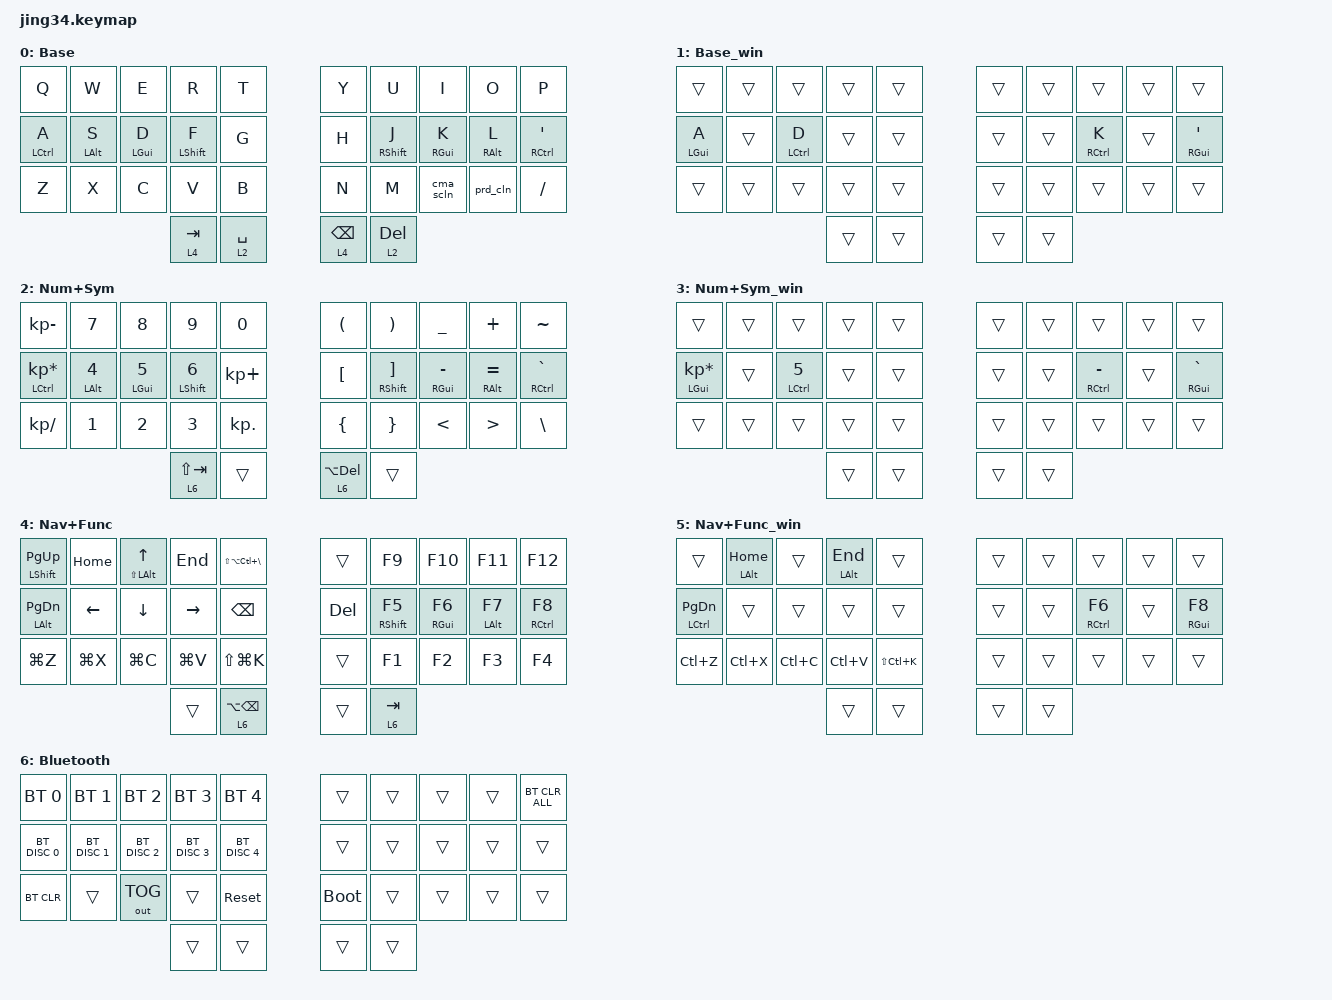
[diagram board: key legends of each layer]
#include <behaviors.dtsi>
#include <dt-bindings/zmk/bt.h>
#include <dt-bindings/zmk/keys.h>
#include <dt-bindings/zmk/outputs.h>

&mt {
    quick-tap-ms = <150>;
    tapping-term-ms = <150>;
    require-prior-idle-ms = <150>;
    flavor = "balanced";
};

&lt {
};

/ {
    combos {
        compatible = "zmk,combos";

        left_enter {
            bindings = <&kp ENTER>;
            key-positions = <1 12 23>;
        };

        right_enter {
            bindings = <&kp ENTER>;
            key-positions = <8 17 26>;
        };

        esc {
            bindings = <&kp ESCAPE>;
            key-positions = <0 1>;
        };

        tab {
            bindings = <&kp TAB>;
            key-positions = <3 14>;
        };

        shift_tab {
            bindings = <&kp LS(TAB)>;
            key-positions = <2 13>;
        };

        hold_space {
            bindings = <&kp SPACE>;
            key-positions = <23 31>;
        };

        caps_word {
            bindings = <&caps_word>;
            key-positions = <13 16>;
        };

        toggle_nav {
            bindings = <&tog 2>;
            key-positions = <11 2 13>;
            layers = <0 2>;
            require-prior-idle-ms = <350>;
        };

        jsdoc {
            bindings = <&jsdoc>;
            key-positions = <29 28>;
        };

        caps_lock {
            bindings = <&kp CAPSLOCK>;
            key-positions = <13 12 16 17>;
        };

        screen_shot {
            bindings = <&kp LS(LG(N5))>;
            key-positions = <0 11>;
        };

        soft_off {
            bindings = <&soft_off>;
            key-positions = <0 32 9 31>;
        };

        bootloader {
            bindings = <&bootloader>;
            key-positions = <4 14 5 15>;
        };

        bt_clear_all {
            bindings = <&bt BT_CLR_ALL>;
            key-positions = <20 21 29 28 22 27>;
        };

        reset {
            bindings = <&sys_reset>;
            key-positions = <30 31 32 33 34 35>;
        };

        globe {
            bindings = <&kp GLOBE>;
            key-positions = <21 20>;
        };

        toggle_win {
            bindings = <&tog 1>;
            key-positions = <0 9>;
        };

        screenshot_win {
            bindings = <&kp LS(LG(S))>;
            key-positions = <0 11>;
            layers = <1>;
        };

        force_quit_mac {
            bindings = <&kp LA(LG(ESCAPE))>;
            key-positions = <0 1 2>;
        };

        mo_6_left {
            bindings = <&mo 6>;
            key-positions = <30 31>;
        };

        mo_6_right {
            bindings = <&mo 6>;
            key-positions = <32 33>;
        };

        studio_unlock {
            bindings = <&studio_unlock>;
            key-positions = <20 21 28 29>;
        };

        pw {
            bindings = <&pw>;
            key-positions = <0 1 8 9>;
        };
    };

    behaviors {
        hml: HOMEROW_L_MODS {
            compatible = "zmk,behavior-hold-tap";
            label = "HOMEROW_L_MODS";
            bindings = <&kp>, <&kp>;

            #binding-cells = <2>;
            tapping-term-ms = <150>;
            quick-tap-ms = <150>;
            flavor = "balanced";
            require-prior-idle-ms = <150>;
            hold-trigger-key-positions = <5 6 7 8 9 15 16 17 18 19 25 26 27 28 29 33 32>;
        };

        hsl: HOMEROW_L_SHIFT {
            compatible = "zmk,behavior-hold-tap";
            label = "HOMEROW_L_SHIFT";
            bindings = <&kp>, <&kp>;

            #binding-cells = <2>;
            tapping-term-ms = <150>;
            quick-tap-ms = <150>;
            flavor = "balanced";
            require-prior-idle-ms = <0>;
            hold-trigger-key-positions = <5 15 25 6 16 26 7 8 9 9 17 18 19 27 28 29 33>;
        };

        esc: esc {
            compatible = "zmk,behavior-tap-dance";
            label = "ESC";
            #binding-cells = <0>;
            bindings = <&kp Q>, <&kp ESC>;

            tapping-term-ms = <200>;
        };

        tab: tab {
            compatible = "zmk,behavior-tap-dance";
            label = "TAB";
            #binding-cells = <0>;
            bindings = <&mt LCTRL ENTER>, <&kp TAB>;

            tapping-term-ms = <250>;
        };

        hmr: HOMEROW_R_MODS {
            compatible = "zmk,behavior-hold-tap";
            label = "HOMEROW_R_MODS";
            bindings = <&kp>, <&kp>;

            #binding-cells = <2>;
            tapping-term-ms = <150>;
            quick-tap-ms = <150>;
            flavor = "balanced";
            require-prior-idle-ms = <150>;
            hold-trigger-key-positions = <0 1 2 3 4 10 11 12 13 14 20 21 22 23 24 30 31>;
        };

        hsr: HOMEROW_R_SHIFT {
            compatible = "zmk,behavior-hold-tap";
            label = "HOMEROW_R_SHIFT";
            bindings = <&kp>, <&kp>;

            #binding-cells = <2>;
            tapping-term-ms = <150>;
            quick-tap-ms = <150>;
            flavor = "balanced";
            require-prior-idle-ms = <0>;
            hold-trigger-key-positions = <0 1 2 3 4 10 11 12 13 14 20 21 22 23 24 30>;
        };

        cma_scln: comma_semicolon {
            compatible = "zmk,behavior-mod-morph";
            label = "CMA_SCLN";
            bindings = <&kp COMMA>, <&kp SEMICOLON>;

            #binding-cells = <0>;
            mods = <(MOD_LSFT|MOD_RSFT)>;
        };

        prd_cln: period_colon {
            compatible = "zmk,behavior-mod-morph";
            label = "PRD_CLN";
            bindings = <&kp PERIOD>, <&kp COLON>;

            #binding-cells = <0>;
            mods = <(MOD_LSFT|MOD_RSFT)>;
        };
    };

    macros {
        jsdoc: jsdoc {
            compatible = "zmk,behavior-macro";
            #binding-cells = <0>;
            bindings = <&kp FSLH &kp STAR &kp STAR &kp SPACE>;
            label = "JSDOC";
        };

        pw: pw {
            compatible = "zmk,behavior-macro";
            #binding-cells = <0>;
            bindings = <&kp LS(M) &kp A &kp C &kp H &kp I &kp N &kp E &kp R &kp Y &kp SPACE &kp J &kp U &kp N &kp G &kp L &kp E &kp SPACE &kp T &kp R &kp O &kp P &kp I &kp C &kp A &kp L &kp SPACE &kp R &kp O &kp A &kp R &kp N1>;
            label = "PW";
        };
    };

    keymap {
        compatible = "zmk,keymap";

        Base {
            bindings = <
&kp Q         &kp W            &kp E            &kp R              &kp T        &kp Y  &kp U            &kp I         &kp O             &kp P
&hml LCTRL A  &hml LEFT_ALT S  &hml LEFT_GUI D  &hsl LEFT_SHIFT F  &kp G        &kp H  &hsr RSHFT J     &hmr RGUI K   &hmr RIGHT_ALT L  &hmr RCTRL SQT
&kp Z         &kp X            &kp C            &kp V              &kp B        &kp N  &kp M            &cma_scln     &prd_cln          &kp SLASH
                                                &lt 4 TAB          &lt 2 SPACE         &lt 4 BACKSPACE  &lt 2 DELETE
            >;
        };

        Base_win {
            bindings = <
&trans       &trans  &trans        &trans  &trans  &trans  &trans  &trans        &trans  &trans
&hml LGUI A  &trans  &hml LCTRL D  &trans  &trans  &trans  &trans  &hmr RCTRL K  &trans  &hmr RGUI SQT
&trans       &trans  &trans        &trans  &trans  &trans  &trans  &trans        &trans  &trans
                                   &trans  &trans          &trans  &trans
            >;
        };

        Num+Sym {
            bindings = <
&kp KP_MINUS            &kp N7                  &kp N8        &kp N9               &kp N0       &kp LEFT_PARENTHESIS  &kp RIGHT_PARENTHESIS           &kp UNDERSCORE   &kp PLUS              &kp TILDE
&hml LCTRL KP_MULTIPLY  &hml LEFT_ALT NUMBER_4  &hml LGUI N5  &hsl LSHFT NUMBER_6  &kp KP_PLUS  &kp LEFT_BRACKET      &hmr RIGHT_SHIFT RIGHT_BRACKET  &hmr RGUI MINUS  &hmr RIGHT_ALT EQUAL  &hmr RCTRL GRAVE
&kp KP_DIVIDE           &kp NUMBER_1            &kp NUMBER_2  &kp NUMBER_3         &kp KP_DOT   &kp LEFT_BRACE        &kp RIGHT_BRACE                 &kp LESS_THAN    &kp GREATER_THAN      &kp BACKSLASH
                                                              &lt 6 LS(TAB)        &trans                             &lt 6 LA(DELETE)                &trans
            >;
        };

        Num+Sym_win {
            bindings = <
&trans                 &trans  &trans         &trans  &trans  &trans  &trans  &trans            &trans  &trans
&hml LGUI KP_MULTIPLY  &trans  &hml LCTRL N5  &trans  &trans  &trans  &trans  &hmr RCTRL MINUS  &trans  &hmr RGUI GRAVE
&trans                 &trans  &trans         &trans  &trans  &trans  &trans  &trans            &trans  &trans
                                              &trans  &trans          &trans  &trans
            >;
        };

        Nav+Func {
            bindings = <
&mt LEFT_SHIFT PAGE_UP  &kp HOME   &mt LS(LALT) UP_ARROW  &kp END    &kp LS(LA(LC(BACKSLASH)))  &trans      &kp F9         &kp F10       &kp F11           &kp F12
&mt LALT PAGE_DOWN      &kp LEFT   &kp DOWN               &kp RIGHT  &kp BACKSPACE              &kp DELETE  &hsr RSHFT F5  &hmr RGUI F6  &hmr LEFT_ALT F7  &hmr RCTRL F8
&kp LG(Z)               &kp LG(X)  &kp LG(C)              &kp LG(V)  &kp LS(LG(K))              &trans      &kp F1         &kp F2        &kp F3            &kp F4
                                                          &trans     &lt 6 LA(BACKSPACE)                    &trans         &lt 6 TAB
            >;
        };

        Nav+Func_win {
            bindings = <
&trans               &mt LALT HOME  &trans     &mt LALT END  &trans         &trans  &trans  &trans         &trans  &trans
&mt LCTRL PAGE_DOWN  &trans         &trans     &trans        &trans         &trans  &trans  &hmr RCTRL F6  &trans  &hmr RGUI F8
&kp LC(Z)            &kp LC(X)      &kp LC(C)  &kp LC(V)     &kp LS(LC(K))  &trans  &trans  &trans         &trans  &trans
                                               &trans        &trans                 &trans  &trans
            >;
        };

        Bluetooth {
            bindings = <
&bt BT_SEL 0   &bt BT_SEL 1   &bt BT_SEL 2   &bt BT_SEL 3   &bt BT_SEL 4   &trans       &trans  &trans  &trans  &bt BT_CLR_ALL
&bt BT_DISC 0  &bt BT_DISC 1  &bt BT_DISC 2  &bt BT_DISC 3  &bt BT_DISC 4  &trans       &trans  &trans  &trans  &trans
&bt BT_CLR     &trans         &out OUT_TOG   &trans         &sys_reset     &bootloader  &trans  &trans  &trans  &trans
                                             &trans         &trans                      &trans  &trans
            >;
        };
    };

    conditional_layers {
        compatible = "zmk,conditional-layers";

        num_sym_win {
            if-layers = <1 2>;
            then-layer = <3>;
        };

        nav_func_win {
            if-layers = <1 4>;
            then-layer = <5>;
        };
    };
};
